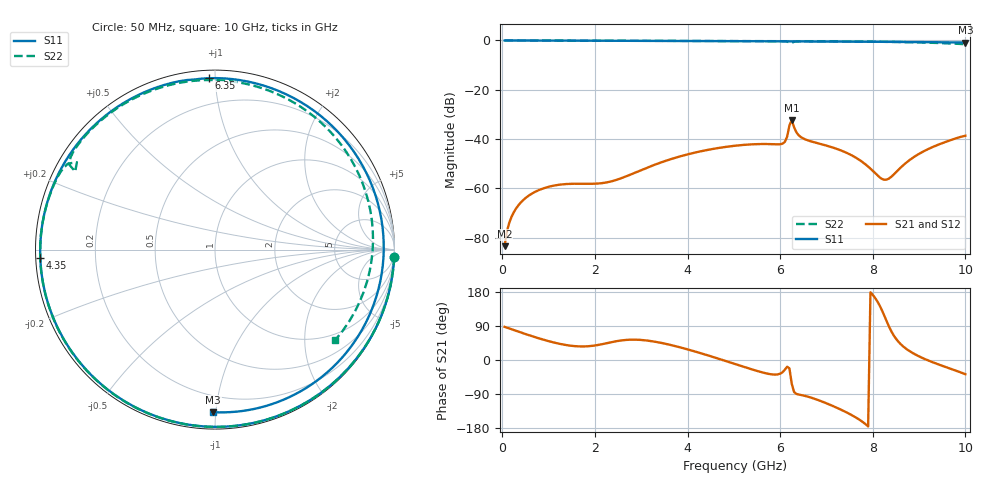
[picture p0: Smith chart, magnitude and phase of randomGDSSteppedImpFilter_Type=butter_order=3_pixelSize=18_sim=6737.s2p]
! freq	dB(S11)	phase(S11)	dB(S12)	phase(S12)
!  dB(S21)	phase(S21)	dB(S22)	phase(S22)
!S-par simulation data
#  GHz  S  DB  R 50
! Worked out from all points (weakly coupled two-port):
!   200 points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, 50 MHz to 10 GHz, reference 50 ohm
!   highest |S21| = -32.22 dB at 6.25 GHz (marker M1); lowest = -83.4 dB at 50 MHz (marker M2)
!   lowest |S11| = -0.9 dB at 10 GHz (marker M3), VSWR 20.28, Z = 4.87 - j49.2 ohm
!   |S11| at or under -10 dB: nowhere
!   |S22| runs from -1.5 to 0.0 dB; largest |S21 - S12| = 0
!   S11 on the Smith chart (normalised r, x): 50 MHz: 1, -50; 4.35 GHz: 0.01, -0.02; 6.35 GHz: 0.04, +0.97; 10 GHz: 0.10, -0.98
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0.05  -0.01 -2.3  -83.43 87.5  -83.43 87.5  -0.01 -2.2
0.25  -0.02 -11.1  -69.61 79.0  -69.61 79.0  -0.01 -10.9
0.6  -0.03 -26.6  -62.57 64.5  -62.57 64.5  -0.03 -25.9
1.1  -0.06 -48.3  -58.91 46.6  -58.91 46.6  -0.06 -46.7
1.75  -0.09 -75.5  -58.12 35.8  -58.12 35.8  -0.09 -72.2
2.55  -0.13 -107.4  -56.00 51.3  -56.00 51.3  -0.11 -100.8
3.4  -0.17 -140.3  -49.65 45.9  -49.65 45.9  -0.14 -128.2
4.35  -0.22 -177.4  -44.70 15.6  -44.70 15.6  -0.18 -156.3
5.05  -0.28 153.5  -42.65 -11.5  -42.65 -11.5  -0.22 -176.3
6.05  -0.36 107.1  -41.89 -32.4  -41.89 -32.4  -0.32 153.7
6.15  -0.36 102.1  -39.07 -17.8  -39.07 -17.8  -0.46 149.7
6.25  -0.40 97.0  -32.22 -62.3  -32.22 -62.3  -0.99 150.8
6.35  -0.39 92.0  -37.23 -89.4  -37.23 -89.4  -0.40 147.5
6.7  -0.42 73.5  -41.11 -100.6  -41.11 -100.6  -0.35 135.2
7.1  -0.45 51.7  -43.21 -119.4  -43.21 -119.4  -0.38 121.7
7.6  -0.49 24.1  -47.15 -149.2  -47.15 -149.2  -0.44 103.3
8.2  -0.55 -8.2  -56.17 130.7  -56.17 130.7  -0.55 78.3
8.35  -0.57 -16.0  -56.00 88.3  -56.00 88.3  -0.58 71.3
8.85  -0.64 -40.7  -47.76 19.3  -47.76 19.3  -0.74 45.3
9.35  -0.72 -63.6  -42.77 -8.6  -42.77 -8.6  -0.99 14.1
9.7  -0.79 -78.5  -40.30 -23.8  -40.30 -23.8  -1.25 -11.8
10  -0.86 -90.6  -38.65 -37.5  -38.65 -37.5  -1.53 -36.9
